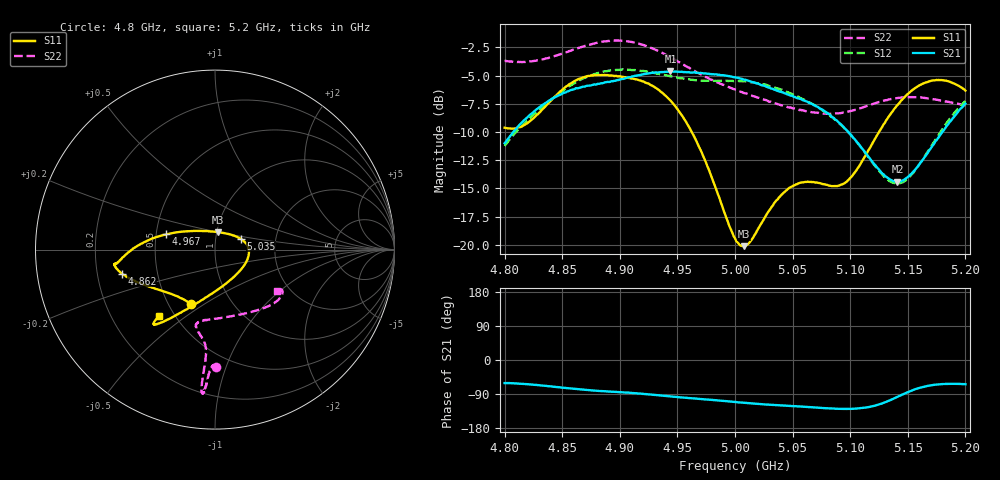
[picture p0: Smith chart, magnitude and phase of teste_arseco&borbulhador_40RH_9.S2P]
! Network Analyzer HP8722D
! Hewlett-Packard
! Data name: Linha & Wilkinson
! Saver's name: Rodrigo Anjos
! Comments: Teste da utilização de aquisição
! continua pelo VNA HP8722D
! Time and date: 15/4/2025 16:25
!  Frequency  S11  S21  S12  S22
# HZ  S  MA R 50
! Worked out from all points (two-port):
!   401 points, 4.8 GHz to 5.2 GHz, reference 50 ohm
!   highest |S21| = -4.63 dB at 4.944 GHz (marker M1); lowest = -14.4 dB at 5.141 GHz (marker M2)
!   |S21| within 3 dB of the highest: 4.832 GHz to 5.069 GHz (236.5 MHz wide, 4.78 % of centre); 5.19866 GHz to end of sweep
!   lowest |S11| = -20.1 dB at 5.008 GHz (marker M3), VSWR 1.22, Z = 50.7 + j9.97 ohm
!   |S11| at or under -10 dB: 4.962 GHz to 5.125 GHz (162.6 MHz wide, 3.22 % of centre)
!   |S22| runs from -8.4 to -1.9 dB; largest |S21 - S12| = 0.88
!   S11 on the Smith chart (normalised r, x): 4.8 GHz: 0.65, -0.44; 4.862 GHz: 0.31, -0.11; 4.967 GHz: 0.57, +0.10; 5.035 GHz: 1.32, +0.17; 5.2 GHz: 0.41, -0.40
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4.8e9  0.3306 -113.7  0.2822 -60.9  0.2747 -175.0  0.6531 -89.4
4.819e9  0.3447 -133.5  0.3645 -63.7  0.3521 -173.3  0.6484 -91.2
4.862e9  0.5359 -165.6  0.4952 -76.6  0.5258 -176.2  0.7386 -93.5
4.867e9  0.5499 -167.5  0.5005 -78.1  0.5423 -177.3  0.7535 -93.7
4.902e9  0.5551 -172.1  0.5436 -85.2  0.5994 175.4  0.8021 -95.1
4.934e9  0.4855 -178.1  0.5808 -93.2  0.5728 172.0  0.7206 -95.5
4.944e9  0.4356 177.5  0.5869 -96.1  0.5577 172.0  0.6788 -95.3
4.967e9  0.2848 162.6  0.5788 -102.1  0.536 173.9  0.58 -95.0
5e9  0.107 107.3  0.5531 -110.8  0.5327 176.5  0.4882 -99.2
5.008e9  0.09873 80.2  0.5395 -113.0  0.5313 176.6  0.4702 -101.0
5.014e9  0.1049 61.3  0.5287 -114.6  0.5256 176.3  0.4605 -102.5
5.035e9  0.1553 23.1  0.486 -118.9  0.4972 175.2  0.4239 -103.8
5.049e9  0.1811 8.1  0.4581 -121.3  0.4681 174.7  0.4051 -100.7
5.067e9  0.19 -11.2  0.4207 -124.6  0.4215 174.1  0.3867 -91.9
5.086e9  0.1822 -41.6  0.3642 -128.0  0.3612 173.8  0.3821 -77.8
5.097e9  0.1906 -64.8  0.322 -129.0  0.3199 174.4  0.3882 -68.6
5.134e9  0.3734 -116.0  0.1956 -107.0  0.1917 -159.8  0.4413 -43.4
5.141e9  0.4165 -119.9  0.1907 -97.3  0.1871 -148.8  0.4476 -40.3
5.153e9  0.4811 -124.8  0.2064 -81.1  0.2042 -130.2  0.4513 -35.9
5.17e9  0.5327 -128.5  0.2681 -66.9  0.2723 -113.0  0.4442 -32.0
5.184e9  0.5323 -129.8  0.3379 -63.1  0.3488 -107.2  0.4316 -31.1
5.2e9  0.4828 -130.3  0.4224 -64.0  0.434 -106.0  0.4153 -33.4
